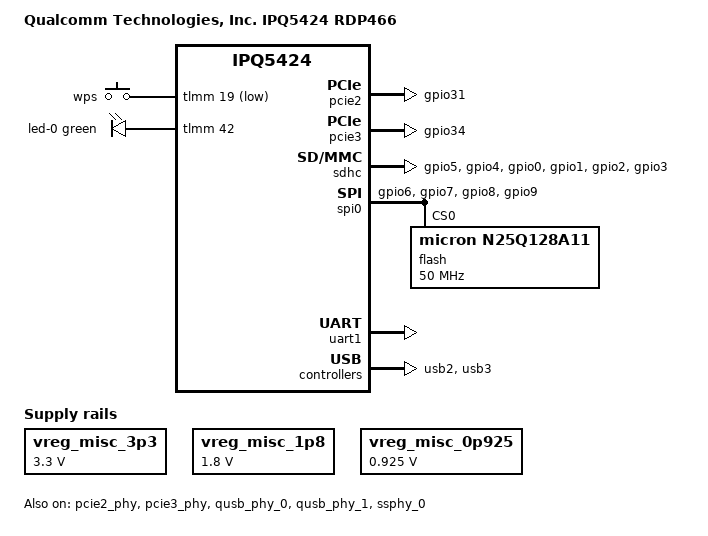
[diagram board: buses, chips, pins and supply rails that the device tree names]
// SPDX-License-Identifier: GPL-2.0+ OR BSD-3-Clause
/*
 * IPQ5424 RDP466 board device tree source
 *
 * Copyright (c) 2024-2025 The Linux Foundation. All rights reserved.
 */

/dts-v1/;

#include <dt-bindings/input/input.h>
#include <dt-bindings/leds/common.h>
#include "ipq5424.dtsi"

/ {
	model = "Qualcomm Technologies, Inc. IPQ5424 RDP466";
	compatible = "qcom,ipq5424-rdp466", "qcom,ipq5424";

	aliases {
		serial0 = &uart1;
	};

	gpio-keys {
		compatible = "gpio-keys";
		pinctrl-0 = <&gpio_keys_default>;
		pinctrl-names = "default";

		button-wps {
			label = "wps";
			linux,code = <KEY_WPS_BUTTON>;
			gpios = <&tlmm 19 GPIO_ACTIVE_LOW>;
			debounce-interval = <60>;
		};
	};

	leds {
		compatible = "gpio-leds";
		pinctrl-0 = <&gpio_leds_default>;
		pinctrl-names = "default";

		led-0 {
			color = <LED_COLOR_ID_GREEN>;
			function = LED_FUNCTION_WLAN;
			gpios = <&tlmm 42 GPIO_ACTIVE_HIGH>;
			linux,default-trigger = "phy0tx";
			default-state = "off";
		};
	};

	vreg_misc_3p3: regulator-usb-3p3 {
		compatible = "regulator-fixed";
		regulator-min-microvolt = <3300000>;
		regulator-max-microvolt = <3300000>;
		regulator-boot-on;
		regulator-always-on;
		regulator-name = "usb_hs_vdda_3p3";
	};

	vreg_misc_1p8: regulator-usb-1p8 {
		compatible = "regulator-fixed";
		regulator-min-microvolt = <1800000>;
		regulator-max-microvolt = <1800000>;
		regulator-boot-on;
		regulator-always-on;
		regulator-name = "vdda_1p8_usb";
	};

	vreg_misc_0p925: regulator-usb-0p925 {
		compatible = "regulator-fixed";
		regulator-min-microvolt = <925000>;
		regulator-max-microvolt = <925000>;
		regulator-boot-on;
		regulator-always-on;
		regulator-name = "vdd_core_usb";
	};
};

&dwc_0 {
	dr_mode = "host";
};

&dwc_1 {
	dr_mode = "host";
};

&pcie2 {
	pinctrl-0 = <&pcie2_default_state>;
	pinctrl-names = "default";

	perst-gpios = <&tlmm 31 GPIO_ACTIVE_LOW>;

	status = "okay";
};

&pcie2_phy {
	status = "okay";
};

&pcie3 {
	pinctrl-0 = <&pcie3_default_state>;
	pinctrl-names = "default";

	perst-gpios = <&tlmm 34 GPIO_ACTIVE_LOW>;

	status = "okay";
};

&pcie3_phy {
	status = "okay";
};

&qusb_phy_0 {
	vdd-supply = <&vreg_misc_0p925>;
	vdda-pll-supply = <&vreg_misc_1p8>;
	vdda-phy-dpdm-supply = <&vreg_misc_3p3>;

	status = "okay";
};

&qusb_phy_1 {
	vdd-supply = <&vreg_misc_0p925>;
	vdda-pll-supply = <&vreg_misc_1p8>;
	vdda-phy-dpdm-supply = <&vreg_misc_3p3>;

	status = "okay";
};

&sdhc {
	pinctrl-0 = <&sdc_default_state>;
	pinctrl-names = "default";

	status = "okay";
};

&sleep_clk {
	clock-frequency = <32000>;
};

&spi0 {
	pinctrl-0 = <&spi0_default_state>;
	pinctrl-names = "default";
	status = "okay";

	flash@0 {
		compatible = "micron,n25q128a11", "jedec,spi-nor";
		reg = <0>;
		#address-cells = <1>;
		#size-cells = <1>;
		spi-max-frequency = <50000000>;
	};
};

&ssphy_0 {
	vdda-pll-supply = <&vreg_misc_1p8>;
	vdda-phy-supply = <&vreg_misc_0p925>;

	status = "okay";
};

&tlmm {
	gpio_keys_default: gpio-keys-default-state {
		pins = "gpio19";
		function = "gpio";
		drive-strength = <8>;
		bias-pull-up;
	};

	gpio_leds_default: gpio-leds-default-state {
		pins = "gpio42";
		function = "gpio";
		drive-strength = <8>;
		bias-pull-down;
	};

	spi0_default_state: spi0-default-state {
		clk-pins {
			pins = "gpio6";
			function = "spi0_clk";
			drive-strength = <8>;
			bias-pull-down;
		};

		cs-pins {
			pins = "gpio7";
			function = "spi0_cs";
			drive-strength = <8>;
			bias-pull-up;
		};

		miso-pins {
			pins = "gpio8";
			function = "spi0_miso";
			drive-strength = <8>;
			bias-pull-down;
		};

		mosi-pins {
			pins = "gpio9";
			function = "spi0_mosi";
			drive-strength = <8>;
			bias-pull-down;
		};
	};

	sdc_default_state: sdc-default-state {
		clk-pins {
			pins = "gpio5";
			function = "sdc_clk";
			drive-strength = <8>;
			bias-disable;
		};

		cmd-pins {
			pins = "gpio4";
			function = "sdc_cmd";
			drive-strength = <8>;
			bias-pull-up;
		};

		data-pins {
			pins = "gpio0", "gpio1", "gpio2", "gpio3";
			function = "sdc_data";
			drive-strength = <8>;
			bias-pull-up;
		};
	};

	uart0_pins: uart0-default-state {
		pins = "gpio10", "gpio11", "gpio12", "gpio13";
		function = "uart0";
		drive-strength = <8>;
		bias-pull-down;
	};

	pcie2_default_state: pcie2-default-state {
		pins = "gpio31";
		function = "gpio";
		drive-strength = <8>;
		bias-pull-up;
	};

	pcie3_default_state: pcie3-default-state {
		pins = "gpio34";
		function = "gpio";
		drive-strength = <8>;
		bias-pull-up;
	};
};

&uart0 {
	pinctrl-0 = <&uart0_pins>;
	pinctrl-names = "default";
	/*
	 * The required initialization for this SE is not handled by the
	 * bootloader. Therefore, keep the device in "reserved" state until
	 * linux gains support for configuring the SE.
	 */
	status = "reserved";
};

&uart1 {
	pinctrl-0 = <&uart1_pins>;
	pinctrl-names = "default";
	status = "okay";
};

&usb2 {
	status = "okay";
};

&usb3 {
	status = "okay";
};

/*
 * The bootstrap pins for the board select the XO clock frequency that
 * supports 48 MHZ, 96 MHZ or 192 MHZ. This setting automatically
 * enables the right dividers, to ensure the reference clock output
 * from WiFi to the CMN PLL is 48 MHZ.
 */
&ref_48mhz_clk {
	clock-div = <1>;
	clock-mult = <1>;
};

/*
 * The frequency of xo_board is fixed to 24 MHZ, which is routed
 * from WiFi output clock 48 MHZ divided by 2.
 */
&xo_board {
	clock-div = <2>;
	clock-mult = <1>;
};

&xo_clk {
	clock-frequency = <48000000>;
};
